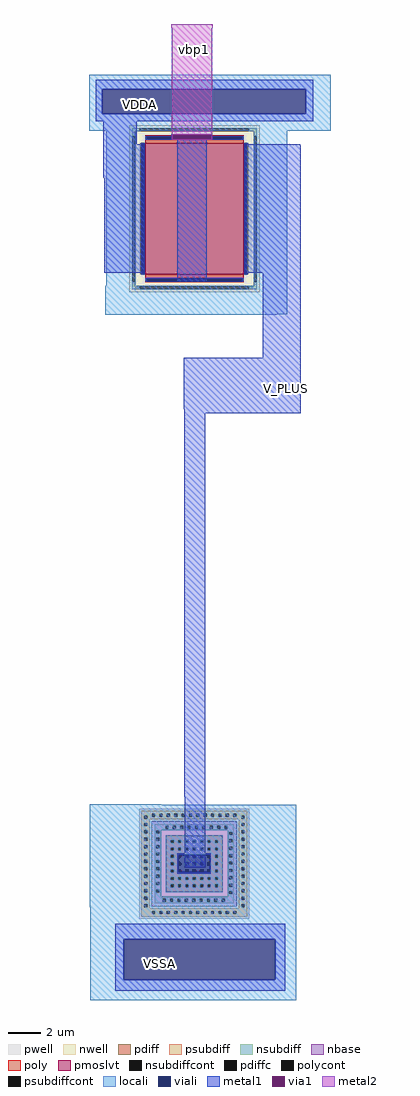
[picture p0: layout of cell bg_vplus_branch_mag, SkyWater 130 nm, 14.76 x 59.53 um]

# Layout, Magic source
magic
tech sky130A
magscale 1 2
<< locali >>
rect 4208 8520 7160 8696
rect 4208 8222 4372 8520
rect 4714 8518 4914 8520
rect 6850 8222 7160 8520
rect 4208 8220 4572 8222
rect 5320 8220 7160 8222
rect 4208 8012 7160 8220
rect 4416 6122 4778 8012
rect 6218 6122 6626 8012
rect 4404 5774 6626 6122
rect 4404 5766 6500 5774
rect 4220 -212 5092 -206
rect 4220 -524 6734 -212
rect 4220 -1326 5092 -524
rect 5900 -1326 6734 -524
rect 4220 -1456 6738 -1326
rect 4226 -1848 6738 -1456
rect 4226 -2344 4630 -1848
rect 6482 -2344 6738 -1848
rect 4226 -2592 6738 -2344
<< viali >>
rect 4372 8518 4714 8520
rect 4914 8518 6850 8520
rect 4372 8222 6850 8518
rect 4572 8220 5320 8222
rect 4630 -2344 6482 -1848
<< metal1 >>
rect 4292 8520 6944 8634
rect 4292 8222 4372 8520
rect 4714 8518 4914 8520
rect 6850 8222 6944 8520
rect 4292 8220 4572 8222
rect 5320 8220 6944 8222
rect 4292 8128 6944 8220
rect 4380 7846 4790 8128
rect 5214 7962 5708 7972
rect 5214 7910 5232 7962
rect 5704 7910 5708 7962
rect 5214 7906 5708 7910
rect 4380 7436 4884 7846
rect 4392 6278 4884 7436
rect 5282 6176 5646 7906
rect 6102 7828 6782 7846
rect 6102 6278 6788 7828
rect 6328 5242 6788 6278
rect 5380 5240 6788 5242
rect 5366 4618 6788 5240
rect 5370 4564 6788 4618
rect 5370 -112 5624 4564
rect 5374 -974 5624 -112
rect 4530 -1848 6602 -1662
rect 4530 -2344 4630 -1848
rect 6482 -2344 6602 -1848
rect 4530 -2482 6602 -2344
<< via1 >>
rect 5232 7910 5704 7962
<< metal2 >>
rect 5214 9266 5720 9314
rect 5216 7962 5714 9266
rect 5216 7910 5232 7962
rect 5704 7910 5714 7962
rect 5216 7900 5714 7910
use sky130_fd_pr__pfet_01v8_lvt_KLHPYA  XM3 ~/projects/test/layout
transform 1 0 5494 0 1 7059
box -796 -1019 796 1019
use sky130_fd_pr__rf_pnp_05v5_W3p40L3p40  XQ9 $PDKPATH/libs.ref/sky130_fd_pr/mag
transform 1 0 4822 0 1 -1600
box 0 0 1340 1340
<< labels >>
flabel metal1 4970 -2250 5170 -2050 0 FreeSans 1600 0 0 0 VSSA
port 0 nsew
flabel metal1 6514 4768 6714 4968 0 FreeSans 1600 0 0 0 V_PLUS
port 1 nsew
flabel metal1 4718 8234 4918 8434 0 FreeSans 1600 0 0 0 VDDA
port 2 nsew
flabel metal2 5398 8898 5598 9098 0 FreeSans 1600 0 0 0 vbp1
port 3 nsew
<< end >>

# cell sky130_fd_pr__pfet_01v8_lvt_KLHPYA: kit device sky130_fd_pr__pfet_01v8_lvt, w 8.0 l 6.0 m 1 nf 1 diffcov 100 polycov 100 guard 1 glc 1 grc 1 gtc 1 gbc 1 tbcov 100 rlcov 100 topc 1 botc 1 poverlap 0 doverlap 1 lmin 0.35 wmin 0.42 class mosfet compatible {sky130_fd_pr__pfet_01v8 sky130_fd_pr__pfet_01v8_lvt sky130_fd_pr__pfet_01v8_hvt sky130_fd_pr__pfet_g5v0d10v5} full_metal 1 conn_gates 0 viasrc 100 viadrn 100 viagate 100 viagb 0 viagr 0 viagl 0 viagt 0 doports 1

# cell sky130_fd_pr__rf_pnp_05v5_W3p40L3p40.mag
magic
tech sky130A
magscale 1 2
<< pwell >>
rect 0 1187 1340 1340
rect 0 153 153 1187
rect 1187 153 1340 1187
rect 0 0 1340 153
<< nbase >>
rect 153 153 1187 1187
<< pdiff >>
rect 330 958 1010 1010
rect 330 924 384 958
rect 418 924 474 958
rect 508 924 564 958
rect 598 924 654 958
rect 688 924 744 958
rect 778 924 834 958
rect 868 924 924 958
rect 958 924 1010 958
rect 330 868 1010 924
rect 330 834 384 868
rect 418 834 474 868
rect 508 834 564 868
rect 598 834 654 868
rect 688 834 744 868
rect 778 834 834 868
rect 868 834 924 868
rect 958 834 1010 868
rect 330 778 1010 834
rect 330 744 384 778
rect 418 744 474 778
rect 508 744 564 778
rect 598 744 654 778
rect 688 744 744 778
rect 778 744 834 778
rect 868 744 924 778
rect 958 744 1010 778
rect 330 688 1010 744
rect 330 654 384 688
rect 418 654 474 688
rect 508 654 564 688
rect 598 654 654 688
rect 688 654 744 688
rect 778 654 834 688
rect 868 654 924 688
rect 958 654 1010 688
rect 330 598 1010 654
rect 330 564 384 598
rect 418 564 474 598
rect 508 564 564 598
rect 598 564 654 598
rect 688 564 744 598
rect 778 564 834 598
rect 868 564 924 598
rect 958 564 1010 598
rect 330 508 1010 564
rect 330 474 384 508
rect 418 474 474 508
rect 508 474 564 508
rect 598 474 654 508
rect 688 474 744 508
rect 778 474 834 508
rect 868 474 924 508
rect 958 474 1010 508
rect 330 418 1010 474
rect 330 384 384 418
rect 418 384 474 418
rect 508 384 564 418
rect 598 384 654 418
rect 688 384 744 418
rect 778 384 834 418
rect 868 384 924 418
rect 958 384 1010 418
rect 330 330 1010 384
<< pdiffc >>
rect 384 924 418 958
rect 474 924 508 958
rect 564 924 598 958
rect 654 924 688 958
rect 744 924 778 958
rect 834 924 868 958
rect 924 924 958 958
rect 384 834 418 868
rect 474 834 508 868
rect 564 834 598 868
rect 654 834 688 868
rect 744 834 778 868
rect 834 834 868 868
rect 924 834 958 868
rect 384 744 418 778
rect 474 744 508 778
rect 564 744 598 778
rect 654 744 688 778
rect 744 744 778 778
rect 834 744 868 778
rect 924 744 958 778
rect 384 654 418 688
rect 474 654 508 688
rect 564 654 598 688
rect 654 654 688 688
rect 744 654 778 688
rect 834 654 868 688
rect 924 654 958 688
rect 384 564 418 598
rect 474 564 508 598
rect 564 564 598 598
rect 654 564 688 598
rect 744 564 778 598
rect 834 564 868 598
rect 924 564 958 598
rect 384 474 418 508
rect 474 474 508 508
rect 564 474 598 508
rect 654 474 688 508
rect 744 474 778 508
rect 834 474 868 508
rect 924 474 958 508
rect 384 384 418 418
rect 474 384 508 418
rect 564 384 598 418
rect 654 384 688 418
rect 744 384 778 418
rect 834 384 868 418
rect 924 384 958 418
<< psubdiff >>
rect 26 1279 1314 1314
rect 26 1256 156 1279
rect 26 1222 60 1256
rect 94 1245 156 1256
rect 190 1245 246 1279
rect 280 1245 336 1279
rect 370 1245 426 1279
rect 460 1245 516 1279
rect 550 1245 606 1279
rect 640 1245 696 1279
rect 730 1245 786 1279
rect 820 1245 876 1279
rect 910 1245 966 1279
rect 1000 1245 1056 1279
rect 1090 1245 1146 1279
rect 1180 1256 1314 1279
rect 1180 1245 1247 1256
rect 94 1222 1247 1245
rect 1281 1222 1314 1256
rect 26 1213 1314 1222
rect 26 1166 127 1213
rect 26 1132 60 1166
rect 94 1132 127 1166
rect 1213 1166 1314 1213
rect 26 1076 127 1132
rect 26 1042 60 1076
rect 94 1042 127 1076
rect 26 986 127 1042
rect 26 952 60 986
rect 94 952 127 986
rect 26 896 127 952
rect 26 862 60 896
rect 94 862 127 896
rect 26 806 127 862
rect 26 772 60 806
rect 94 772 127 806
rect 26 716 127 772
rect 26 682 60 716
rect 94 682 127 716
rect 26 626 127 682
rect 26 592 60 626
rect 94 592 127 626
rect 26 536 127 592
rect 26 502 60 536
rect 94 502 127 536
rect 26 446 127 502
rect 26 412 60 446
rect 94 412 127 446
rect 26 356 127 412
rect 26 322 60 356
rect 94 322 127 356
rect 26 266 127 322
rect 26 232 60 266
rect 94 232 127 266
rect 26 176 127 232
rect 1213 1132 1247 1166
rect 1281 1132 1314 1166
rect 1213 1076 1314 1132
rect 1213 1042 1247 1076
rect 1281 1042 1314 1076
rect 1213 986 1314 1042
rect 1213 952 1247 986
rect 1281 952 1314 986
rect 1213 896 1314 952
rect 1213 862 1247 896
rect 1281 862 1314 896
rect 1213 806 1314 862
rect 1213 772 1247 806
rect 1281 772 1314 806
rect 1213 716 1314 772
rect 1213 682 1247 716
rect 1281 682 1314 716
rect 1213 626 1314 682
rect 1213 592 1247 626
rect 1281 592 1314 626
rect 1213 536 1314 592
rect 1213 502 1247 536
rect 1281 502 1314 536
rect 1213 446 1314 502
rect 1213 412 1247 446
rect 1281 412 1314 446
rect 1213 356 1314 412
rect 1213 322 1247 356
rect 1281 322 1314 356
rect 1213 266 1314 322
rect 1213 232 1247 266
rect 1281 232 1314 266
rect 26 142 60 176
rect 94 142 127 176
rect 26 127 127 142
rect 1213 176 1314 232
rect 1213 142 1247 176
rect 1281 142 1314 176
rect 1213 127 1314 142
rect 26 92 1314 127
rect 26 58 156 92
rect 190 58 246 92
rect 280 58 336 92
rect 370 58 426 92
rect 460 58 516 92
rect 550 58 606 92
rect 640 58 696 92
rect 730 58 786 92
rect 820 58 876 92
rect 910 58 966 92
rect 1000 58 1056 92
rect 1090 58 1146 92
rect 1180 58 1314 92
rect 26 26 1314 58
<< nsubdiff >>
rect 189 1132 1151 1151
rect 189 1098 320 1132
rect 354 1098 410 1132
rect 444 1098 500 1132
rect 534 1098 590 1132
rect 624 1098 680 1132
rect 714 1098 770 1132
rect 804 1098 860 1132
rect 894 1098 950 1132
rect 984 1098 1040 1132
rect 1074 1098 1151 1132
rect 189 1079 1151 1098
rect 189 1075 261 1079
rect 189 1041 208 1075
rect 242 1041 261 1075
rect 189 985 261 1041
rect 1079 1056 1151 1079
rect 1079 1022 1098 1056
rect 1132 1022 1151 1056
rect 189 951 208 985
rect 242 951 261 985
rect 189 895 261 951
rect 189 861 208 895
rect 242 861 261 895
rect 189 805 261 861
rect 189 771 208 805
rect 242 771 261 805
rect 189 715 261 771
rect 189 681 208 715
rect 242 681 261 715
rect 189 625 261 681
rect 189 591 208 625
rect 242 591 261 625
rect 189 535 261 591
rect 189 501 208 535
rect 242 501 261 535
rect 189 445 261 501
rect 189 411 208 445
rect 242 411 261 445
rect 189 355 261 411
rect 189 321 208 355
rect 242 321 261 355
rect 1079 966 1151 1022
rect 1079 932 1098 966
rect 1132 932 1151 966
rect 1079 876 1151 932
rect 1079 842 1098 876
rect 1132 842 1151 876
rect 1079 786 1151 842
rect 1079 752 1098 786
rect 1132 752 1151 786
rect 1079 696 1151 752
rect 1079 662 1098 696
rect 1132 662 1151 696
rect 1079 606 1151 662
rect 1079 572 1098 606
rect 1132 572 1151 606
rect 1079 516 1151 572
rect 1079 482 1098 516
rect 1132 482 1151 516
rect 1079 426 1151 482
rect 1079 392 1098 426
rect 1132 392 1151 426
rect 1079 336 1151 392
rect 189 261 261 321
rect 1079 302 1098 336
rect 1132 302 1151 336
rect 1079 261 1151 302
rect 189 242 1151 261
rect 189 208 286 242
rect 320 208 376 242
rect 410 208 466 242
rect 500 208 556 242
rect 590 208 646 242
rect 680 208 736 242
rect 770 208 826 242
rect 860 208 916 242
rect 950 208 1006 242
rect 1040 208 1151 242
rect 189 189 1151 208
<< psubdiffcont >>
rect 60 1222 94 1256
rect 156 1245 190 1279
rect 246 1245 280 1279
rect 336 1245 370 1279
rect 426 1245 460 1279
rect 516 1245 550 1279
rect 606 1245 640 1279
rect 696 1245 730 1279
rect 786 1245 820 1279
rect 876 1245 910 1279
rect 966 1245 1000 1279
rect 1056 1245 1090 1279
rect 1146 1245 1180 1279
rect 1247 1222 1281 1256
rect 60 1132 94 1166
rect 60 1042 94 1076
rect 60 952 94 986
rect 60 862 94 896
rect 60 772 94 806
rect 60 682 94 716
rect 60 592 94 626
rect 60 502 94 536
rect 60 412 94 446
rect 60 322 94 356
rect 60 232 94 266
rect 1247 1132 1281 1166
rect 1247 1042 1281 1076
rect 1247 952 1281 986
rect 1247 862 1281 896
rect 1247 772 1281 806
rect 1247 682 1281 716
rect 1247 592 1281 626
rect 1247 502 1281 536
rect 1247 412 1281 446
rect 1247 322 1281 356
rect 1247 232 1281 266
rect 60 142 94 176
rect 1247 142 1281 176
rect 156 58 190 92
rect 246 58 280 92
rect 336 58 370 92
rect 426 58 460 92
rect 516 58 550 92
rect 606 58 640 92
rect 696 58 730 92
rect 786 58 820 92
rect 876 58 910 92
rect 966 58 1000 92
rect 1056 58 1090 92
rect 1146 58 1180 92
<< nsubdiffcont >>
rect 320 1098 354 1132
rect 410 1098 444 1132
rect 500 1098 534 1132
rect 590 1098 624 1132
rect 680 1098 714 1132
rect 770 1098 804 1132
rect 860 1098 894 1132
rect 950 1098 984 1132
rect 1040 1098 1074 1132
rect 208 1041 242 1075
rect 1098 1022 1132 1056
rect 208 951 242 985
rect 208 861 242 895
rect 208 771 242 805
rect 208 681 242 715
rect 208 591 242 625
rect 208 501 242 535
rect 208 411 242 445
rect 208 321 242 355
rect 1098 932 1132 966
rect 1098 842 1132 876
rect 1098 752 1132 786
rect 1098 662 1132 696
rect 1098 572 1132 606
rect 1098 482 1132 516
rect 1098 392 1132 426
rect 1098 302 1132 336
rect 286 208 320 242
rect 376 208 410 242
rect 466 208 500 242
rect 556 208 590 242
rect 646 208 680 242
rect 736 208 770 242
rect 826 208 860 242
rect 916 208 950 242
rect 1006 208 1040 242
<< locali >>
rect 26 1279 1314 1314
rect 26 1256 156 1279
rect 26 1222 60 1256
rect 94 1245 156 1256
rect 190 1245 246 1279
rect 280 1245 336 1279
rect 370 1245 426 1279
rect 460 1245 516 1279
rect 550 1245 606 1279
rect 640 1245 696 1279
rect 730 1245 786 1279
rect 820 1245 876 1279
rect 910 1245 966 1279
rect 1000 1245 1056 1279
rect 1090 1245 1146 1279
rect 1180 1256 1314 1279
rect 1180 1245 1247 1256
rect 94 1222 1247 1245
rect 1281 1222 1314 1256
rect 26 1215 1314 1222
rect 26 1166 125 1215
rect 26 1132 60 1166
rect 94 1132 125 1166
rect 1215 1166 1314 1215
rect 26 1076 125 1132
rect 26 1042 60 1076
rect 94 1042 125 1076
rect 26 986 125 1042
rect 26 952 60 986
rect 94 952 125 986
rect 26 896 125 952
rect 26 862 60 896
rect 94 862 125 896
rect 26 806 125 862
rect 26 772 60 806
rect 94 772 125 806
rect 26 716 125 772
rect 26 682 60 716
rect 94 682 125 716
rect 26 626 125 682
rect 26 592 60 626
rect 94 592 125 626
rect 26 536 125 592
rect 26 502 60 536
rect 94 502 125 536
rect 26 446 125 502
rect 26 412 60 446
rect 94 412 125 446
rect 26 356 125 412
rect 26 322 60 356
rect 94 322 125 356
rect 26 266 125 322
rect 26 232 60 266
rect 94 232 125 266
rect 26 176 125 232
rect 189 1132 1151 1151
rect 189 1098 320 1132
rect 354 1098 410 1132
rect 444 1098 500 1132
rect 534 1098 590 1132
rect 624 1098 680 1132
rect 714 1098 770 1132
rect 804 1098 860 1132
rect 894 1098 950 1132
rect 984 1098 1040 1132
rect 1074 1098 1151 1132
rect 189 1079 1151 1098
rect 189 1075 261 1079
rect 189 1041 208 1075
rect 242 1041 261 1075
rect 189 985 261 1041
rect 1079 1056 1151 1079
rect 1079 1022 1098 1056
rect 1132 1022 1151 1056
rect 189 951 208 985
rect 242 951 261 985
rect 189 895 261 951
rect 189 861 208 895
rect 242 861 261 895
rect 189 805 261 861
rect 189 771 208 805
rect 242 771 261 805
rect 189 715 261 771
rect 189 681 208 715
rect 242 681 261 715
rect 189 625 261 681
rect 189 591 208 625
rect 242 591 261 625
rect 189 535 261 591
rect 189 501 208 535
rect 242 501 261 535
rect 189 445 261 501
rect 189 411 208 445
rect 242 411 261 445
rect 189 355 261 411
rect 189 321 208 355
rect 242 321 261 355
rect 323 958 1017 1017
rect 323 924 384 958
rect 418 924 474 958
rect 508 924 564 958
rect 598 924 654 958
rect 688 924 744 958
rect 778 924 834 958
rect 868 924 924 958
rect 958 924 1017 958
rect 323 868 1017 924
rect 323 834 384 868
rect 418 834 474 868
rect 508 834 564 868
rect 598 834 654 868
rect 688 834 744 868
rect 778 834 834 868
rect 868 834 924 868
rect 958 834 1017 868
rect 323 778 1017 834
rect 323 744 384 778
rect 418 744 472 778
rect 868 744 924 778
rect 958 744 1017 778
rect 323 688 472 744
rect 868 688 1017 744
rect 323 654 384 688
rect 418 654 472 688
rect 868 654 924 688
rect 958 654 1017 688
rect 323 598 472 654
rect 868 598 1017 654
rect 323 564 384 598
rect 418 564 472 598
rect 868 564 924 598
rect 958 564 1017 598
rect 323 508 1017 564
rect 323 474 384 508
rect 418 474 474 508
rect 508 474 564 508
rect 598 474 654 508
rect 688 474 744 508
rect 778 474 834 508
rect 868 474 924 508
rect 958 474 1017 508
rect 323 418 1017 474
rect 323 384 384 418
rect 418 384 474 418
rect 508 384 564 418
rect 598 384 654 418
rect 688 384 744 418
rect 778 384 834 418
rect 868 384 924 418
rect 958 384 1017 418
rect 323 323 1017 384
rect 1079 966 1151 1022
rect 1079 932 1098 966
rect 1132 932 1151 966
rect 1079 876 1151 932
rect 1079 842 1098 876
rect 1132 842 1151 876
rect 1079 786 1151 842
rect 1079 752 1098 786
rect 1132 752 1151 786
rect 1079 696 1151 752
rect 1079 662 1098 696
rect 1132 662 1151 696
rect 1079 606 1151 662
rect 1079 572 1098 606
rect 1132 572 1151 606
rect 1079 516 1151 572
rect 1079 482 1098 516
rect 1132 482 1151 516
rect 1079 426 1151 482
rect 1079 392 1098 426
rect 1132 392 1151 426
rect 1079 336 1151 392
rect 189 261 261 321
rect 1079 302 1098 336
rect 1132 302 1151 336
rect 1079 261 1151 302
rect 189 242 1151 261
rect 189 208 286 242
rect 320 208 376 242
rect 410 208 466 242
rect 500 208 556 242
rect 590 208 646 242
rect 680 208 736 242
rect 770 208 826 242
rect 860 208 916 242
rect 950 208 1006 242
rect 1040 208 1151 242
rect 189 189 1151 208
rect 1215 1132 1247 1166
rect 1281 1132 1314 1166
rect 1215 1076 1314 1132
rect 1215 1042 1247 1076
rect 1281 1042 1314 1076
rect 1215 986 1314 1042
rect 1215 952 1247 986
rect 1281 952 1314 986
rect 1215 896 1314 952
rect 1215 862 1247 896
rect 1281 862 1314 896
rect 1215 806 1314 862
rect 1215 772 1247 806
rect 1281 772 1314 806
rect 1215 716 1314 772
rect 1215 682 1247 716
rect 1281 682 1314 716
rect 1215 626 1314 682
rect 1215 592 1247 626
rect 1281 592 1314 626
rect 1215 536 1314 592
rect 1215 502 1247 536
rect 1281 502 1314 536
rect 1215 446 1314 502
rect 1215 412 1247 446
rect 1281 412 1314 446
rect 1215 356 1314 412
rect 1215 322 1247 356
rect 1281 322 1314 356
rect 1215 266 1314 322
rect 1215 232 1247 266
rect 1281 232 1314 266
rect 26 142 60 176
rect 94 142 125 176
rect 26 125 125 142
rect 1215 176 1314 232
rect 1215 142 1247 176
rect 1281 142 1314 176
rect 1215 125 1314 142
rect 26 92 1314 125
rect 26 58 156 92
rect 190 58 246 92
rect 280 58 336 92
rect 370 58 426 92
rect 460 58 516 92
rect 550 58 606 92
rect 640 58 696 92
rect 730 58 786 92
rect 820 58 876 92
rect 910 58 966 92
rect 1000 58 1056 92
rect 1090 58 1146 92
rect 1180 58 1314 92
rect 26 26 1314 58
<< viali >>
rect 472 744 474 778
rect 474 744 508 778
rect 508 744 564 778
rect 564 744 598 778
rect 598 744 654 778
rect 654 744 688 778
rect 688 744 744 778
rect 744 744 778 778
rect 778 744 834 778
rect 834 744 868 778
rect 472 688 868 744
rect 472 654 474 688
rect 474 654 508 688
rect 508 654 564 688
rect 564 654 598 688
rect 598 654 654 688
rect 654 654 688 688
rect 688 654 744 688
rect 744 654 778 688
rect 778 654 834 688
rect 834 654 868 688
rect 472 598 868 654
rect 472 564 474 598
rect 474 564 508 598
rect 508 564 564 598
rect 564 564 598 598
rect 598 564 654 598
rect 654 564 688 598
rect 688 564 744 598
rect 744 564 778 598
rect 778 564 834 598
rect 834 564 868 598
<< metal1 >>
rect 464 778 874 796
rect 464 564 472 778
rect 868 564 874 778
rect 464 550 874 564
<< labels >>
flabel locali s 554 626 802 730 0 FreeSans 400 0 0 0 Emitter
port 2 nsew
flabel locali s 613 1252 714 1301 0 FreeSans 400 0 0 0 Collector
port 3 nsew
flabel locali s 590 1102 708 1142 0 FreeSans 400 0 0 0 Base
port 4 nsew
<< end >>
